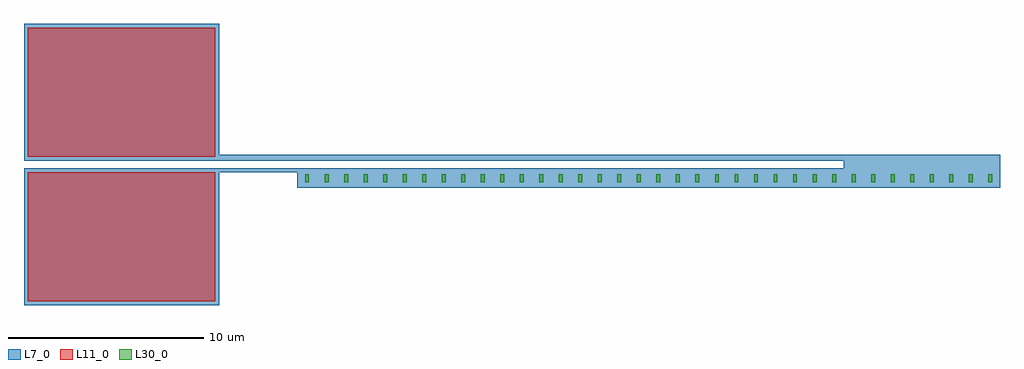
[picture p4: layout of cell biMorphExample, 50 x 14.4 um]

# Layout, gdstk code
import gdstk
lib = gdstk.Library(unit=1e-6, precision=1e-09)
def R(c, l, rs):  # rectangles x0, y0, x1, y1
    for r in rs: c.add(gdstk.rectangle(r[:2], r[2:], *l))
def A(c, l, x, y, w, h, nx, ny, dx, dy):  # array of equal rectangles
    R(c, l, [(x+i*dx, y+j*dy, x+i*dx+w, y+j*dy+h) for i in range(nx) for j in range(ny)])
def P(c, l, *ps):  # polygons
    for p in ps: c.add(gdstk.Polygon(p, *l))
L7_0 = (7, 0)
L11_0 = (11, 0)
L30_0 = (30, 0)

bimorphexample = lib.new_cell('biMorphExample')
P(bimorphexample, L7_0, [(0,0),(0,7),(42,7),(42,7.4),(0,7.4),(0,14.4),(10,14.4),(10,7.7),(50,7.7),(50,7),(50,6),(14,6),(14,6.8),(10,6.8),(10,0)])
R(bimorphexample, L11_0, [(0.2,0.2,9.8,6.8), (0.2,7.6,9.8,14.2)])
A(bimorphexample, L30_0, 14.4, 6.3, 0.2, 0.4, 36, 1, 1, 0)

lib.write_gds('biMorphExample.gds')
